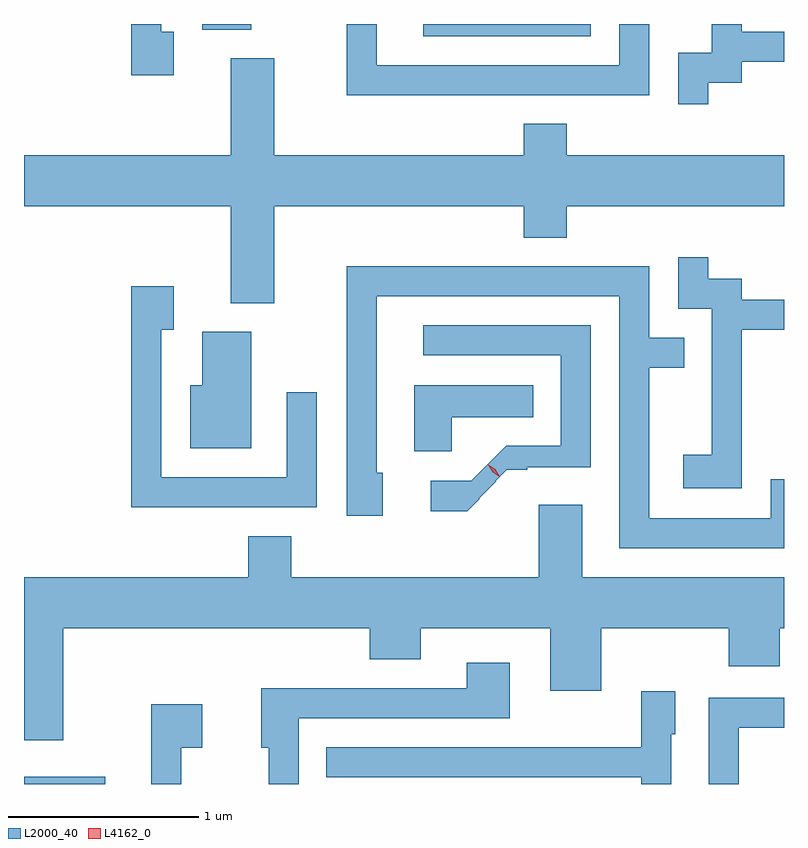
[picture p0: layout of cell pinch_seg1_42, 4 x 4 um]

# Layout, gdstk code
import gdstk
lib = gdstk.Library(unit=1e-6, precision=1e-09)
def R(c, l, rs):  # rectangles x0, y0, x1, y1
    for r in rs: c.add(gdstk.rectangle(r[:2], r[2:], *l))
def P(c, l, *ps):  # polygons
    for p in ps: c.add(gdstk.Polygon(p, *l))
L2000_40 = (2000, 40)
L4162_0 = (4162, 0)

pinch_seg1_42 = lib.new_cell('pinch_seg1_42')
R(pinch_seg1_42, L2000_40, [(1384.292,903.195,1384.719,903.234), (1386.393,907.131,1387.274,907.195), (1385.231,907.166,1385.489,907.195)])
P(pinch_seg1_42, L2000_40, [(1387.584,907.195),(1387.426,907.195),(1387.426,906.979),(1386.149,906.979),(1386.149,907.195),(1385.991,907.195),(1385.991,906.821),(1387.584,906.821)],
  [(1387.894,906.886),(1388.069,906.886),(1388.069,906.996),(1388.292,906.996),(1388.292,907.154),(1388.069,907.154),(1388.069,907.195),(1387.911,907.195),(1387.911,907.044),(1387.736,907.044),(1387.736,906.773),(1387.894,906.773)],
  [(1385.079,907.154),(1385.014,907.154),(1385.014,907.195),(1384.856,907.195),(1384.856,906.926),(1385.079,906.926)],
  [(1385.381,907.014),(1385.381,906.504),(1384.292,906.504),(1384.292,906.236),(1385.381,906.236),(1385.381,905.726),(1385.609,905.726),(1385.609,906.236),(1386.921,906.236),(1386.921,906.071),(1387.149,906.071),(1387.149,906.236),(1388.292,906.236),(1388.292,906.504),(1387.149,906.504),(1387.149,906.669),(1386.921,906.669),(1386.921,906.504),(1385.609,906.504),(1385.609,907.014)],
  [(1388.069,905.586),(1388.292,905.586),(1388.292,905.744),(1388.069,905.744),(1388.069,905.854),(1387.894,905.854),(1387.894,905.968),(1387.736,905.968),(1387.736,905.696),(1387.911,905.696),(1387.911,904.929),(1387.761,904.929),(1387.761,904.751),(1388.069,904.751)],
  [(1388.292,904.799),(1388.221,904.799),(1388.221,904.594),(1387.584,904.594),(1387.584,905.386),(1387.768,905.386),(1387.768,905.544),(1387.584,905.544),(1387.584,905.919),(1385.991,905.919),(1385.991,904.606),(1386.179,904.606),(1386.179,904.834),(1386.149,904.834),(1386.149,905.761),(1387.426,905.761),(1387.426,904.436),(1388.292,904.436)],
  [(1385.834,905.258),(1385.676,905.258),(1385.676,904.809),(1385.014,904.809),(1385.014,905.586),(1385.079,905.586),(1385.079,905.814),(1384.856,905.814),(1384.856,904.651),(1385.834,904.651)],
  [(1386.689,904.695),(1386.687,904.698),(1386.777,904.789),(1386.775,904.79),(1386.833,904.848),(1386.94,904.848),(1386.94,904.863),(1387.274,904.863),(1387.274,905.609),(1386.393,905.609),(1386.393,905.451),(1387.116,905.451),(1387.116,904.974),(1386.831,904.974),(1386.738,904.882),(1386.737,904.883),(1386.646,904.791),(1386.433,904.791),(1386.433,904.631),(1386.625,904.631)],
  [(1385.489,905.574),(1385.231,905.574),(1385.231,905.294),(1385.166,905.294),(1385.166,904.961),(1385.489,904.961)],
  [(1386.544,905.126),(1386.973,905.126),(1386.973,905.294),(1386.346,905.294),(1386.346,904.946),(1386.544,904.946)],
  [(1384.499,904.016),(1386.111,904.016),(1386.111,903.851),(1386.379,903.851),(1386.379,904.016),(1387.061,904.016),(1387.061,903.686),(1387.329,903.686),(1387.329,904.016),(1388.001,904.016),(1388.001,903.816),(1388.269,903.816),(1388.269,904.016),(1388.292,904.016),(1388.292,904.284),(1387.229,904.284),(1387.229,904.664),(1387.001,904.664),(1387.001,904.284),(1385.699,904.284),(1385.699,904.499),(1385.471,904.499),(1385.471,904.284),(1384.292,904.284),(1384.292,903.426),(1384.499,903.426)],
  [(1385.739,903.541),(1386.849,903.541),(1386.849,903.834),(1386.621,903.834),(1386.621,903.699),(1385.541,903.699),(1385.541,903.386),(1385.581,903.386),(1385.581,903.195),(1385.739,903.195)],
  [(1387.699,903.456),(1387.719,903.456),(1387.719,903.684),(1387.541,903.684),(1387.541,903.389),(1385.883,903.389),(1385.883,903.231),(1387.541,903.231),(1387.541,903.195),(1387.699,903.195)],
  [(1388.054,903.491),(1388.292,903.491),(1388.292,903.649),(1387.896,903.649),(1387.896,903.195),(1388.054,903.195)],
  [(1385.119,903.386),(1385.229,903.386),(1385.229,903.614),(1384.961,903.614),(1384.961,903.195),(1385.119,903.195)])
P(pinch_seg1_42, L4162_0, [(1386.792,904.815),(1386.758,904.837),(1386.738,904.872),(1386.738,904.873),(1386.739,904.873),(1386.773,904.851),(1386.793,904.816),(1386.793,904.815)],
  [(1386.796,904.811),(1386.758,904.837),(1386.734,904.877),(1386.734,904.878),(1386.734,904.878),(1386.772,904.851),(1386.796,904.811),(1386.796,904.811)])

lib.write_gds('pinch_seg1_42.gds')
